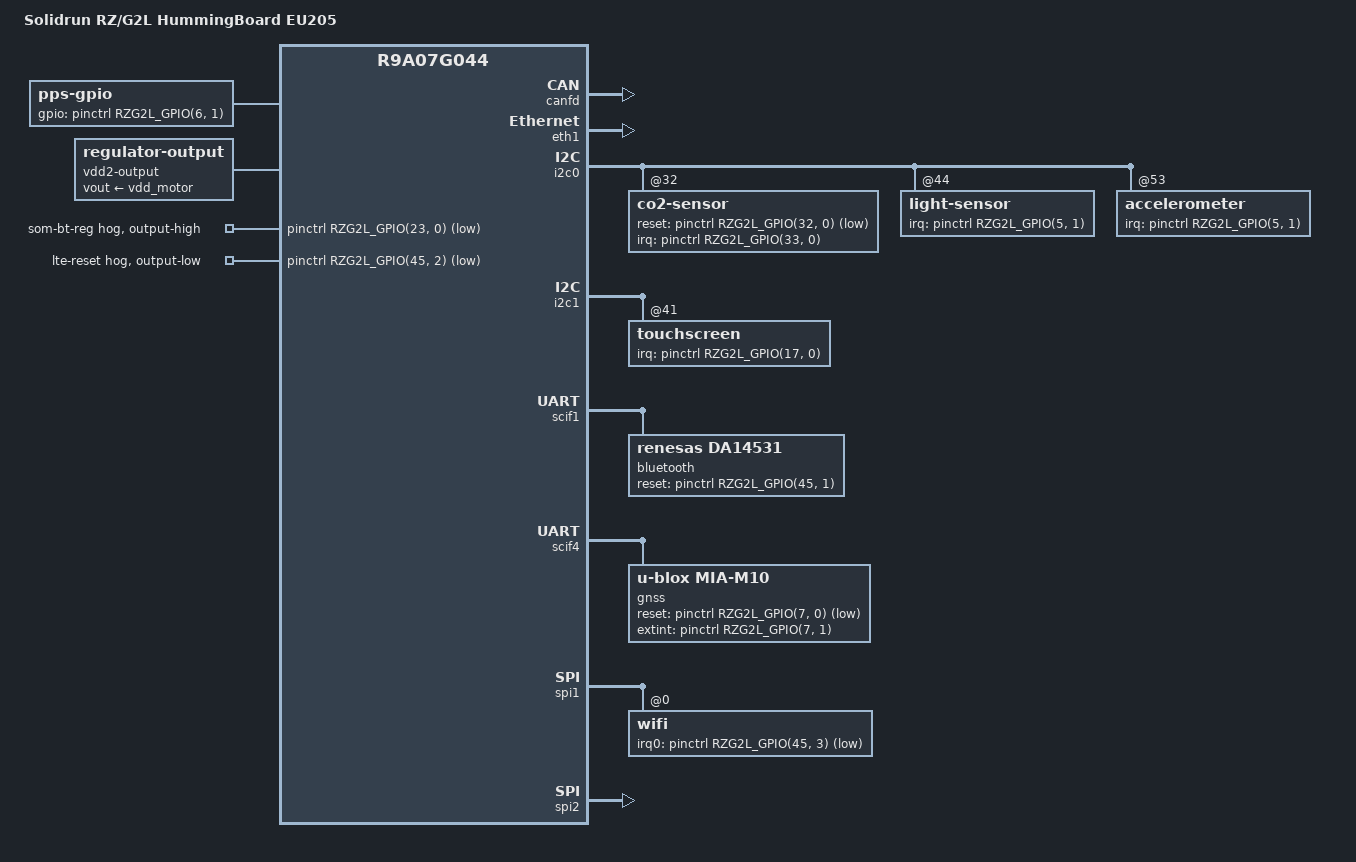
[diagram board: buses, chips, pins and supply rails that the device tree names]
// SPDX-License-Identifier: GPL-2.0+
/*
 * Copyright (C) 2025 Josua Mayer <josua@solid-run.com>
 *
 * DTS for SolidRun RZ-G2L SoM,
 * hosted on Renesas EU205 Evaluation Board.
 *
 */

/dts-v1/;

#include "rzg2l-sr-som.dtsi"
#include "rzg2l-hummingboard-eu205.dtsi"

/ {
	model = "Solidrun RZ/G2L HummingBoard EU205";
	compatible = "solidrun,rz-eu205", "solidrun,rzg2l-sr-som", "renesas,r9a07g044l2", "renesas,r9a07g044";

	aliases {
		serial4 = &scif4;
		ethernet1 = &eth1;
	};

	pps {
		compatible = "pps-gpio";
		gpios = <&pinctrl RZG2L_GPIO(6, 1) GPIO_ACTIVE_HIGH>;
	};

	/* switch for vdd2, sourced from VIN, supplies high-voltage io controller, can be exposed on J26 with R121 */
	vdd_motor: regulator-vdd2-motor {
		gpios = <&pinctrl RZG2L_GPIO(39, 2) GPIO_ACTIVE_HIGH>; // J7-28
		enable-active-high;
	};

	vdd2-output {
		compatible = "regulator-output";
		vout-supply = <&vdd_motor>;
	};

	/* vbat voltage for lte and wifi */
	vbat_wireless: regulator-vbat-wireless {
		gpios = <&pinctrl RZG2L_GPIO(42, 2) GPIO_ACTIVE_HIGH>;
	};

	/* lcd (dsi) power 10.5V, enable J7-36 */
	vdd_lcd: regulator-vdd-video {
		gpios = <&pinctrl RZG2L_GPIO(36, 1) GPIO_ACTIVE_HIGH>; // J7-36
		enable-active-high;
	};
};

&canfd {
	pinctrl-0 = <&can0_pins>, <&can1_pins>;
	pinctrl-names = "default";
	status = "okay";

	channel0 {
		status = "okay";

		can-transceiver {
			max-bitrate = <1000000>;
		};
	};

	channel1 {
		status = "okay";

		can-transceiver {
			max-bitrate = <1000000>;
		};
	};
};

&eth1 {
	status = "okay";

	// TODO: describe PHY LEDs
};

&i2c0 {
	/* ZMOD4410AI1R air quality (U20) @ 32 */
	co2-sensor@32 {
		reset-gpios = <&pinctrl RZG2L_GPIO(32, 0) GPIO_ACTIVE_LOW>;
		interrupt-parent = <&pinctrl>;
		interrupts = <RZG2L_GPIO(33, 0) IRQ_TYPE_EDGE_FALLING>;
	};

	/* ISL76683AROZ-T7A ambient (U19) @ 44 */
	light-sensor@44 {
		/* IRQ shared between accelerometer, light-sensor and Tamper input (25) */
		interrupt-parent = <&pinctrl>;
		interrupts = <RZG2L_GPIO(5, 1) IRQ_TYPE_EDGE_FALLING>;
	};

	/* ADXL345 accelerometer (U17) @ 53 */
	accelerometer@53 {
		/* IRQ shared between accelerometer, light-sensor and Tamper input (25) */
		interrupt-parent = <&pinctrl>;
		interrupts = <RZG2L_GPIO(5, 1) IRQ_TYPE_EDGE_FALLING>;
	};
};

&i2c1 {
	/* touchscreen on DSI connector */
	touchscreen@41 {
		interrupt-parent = <&pinctrl>;
		interrupts = <RZG2L_GPIO(17, 0) IRQ_TYPE_EDGE_FALLING>;
	};
};

&pinctrl {
	can0_pins: can-0-pins {
		pinmux = <RZG2L_PORT_PINMUX(10, 1, 2)>, /* CAN0_TX */
			 <RZG2L_PORT_PINMUX(11, 0, 2)>; /* CAN0_RX */
	};

	can1_pins: can-1-pins {
		pinmux = <RZG2L_PORT_PINMUX(12, 1, 2)>, /* CAN1_TX */
			 <RZG2L_PORT_PINMUX(13, 0, 2)>; /* CAN1_RX */
	};

	scif2_pins: scif2 /* scif-2-pins */ {
		pinmux = <RZG2L_PORT_PINMUX(16, 0, 2)>, /* SCIF2_TXD */
			 <RZG2L_PORT_PINMUX(16, 1, 2)>, /* SCIF2_RXD */
			 <RZG2L_PORT_PINMUX(17, 1, 2)>, /* SCIF2_CTS */
			 <RZG2L_PORT_PINMUX(17, 2, 2)>; /* SCIF2_RTS */
	};

	scif4_pins: scif-4-pins {
		pinmux = <RZG2L_PORT_PINMUX(2, 0, 5)>, /* SCIF4_TXD */
			 <RZG2L_PORT_PINMUX(2, 1, 5)>; /* SCIF4_RXD */
	};

	spi2_pins: spi-2-pins {
		pinmux = <RZG2L_PORT_PINMUX(8, 0, 3)>, /* RSPI2_CK */
			 <RZG2L_PORT_PINMUX(8, 1, 3)>, /* RSPI2_MOSI */
			 <RZG2L_PORT_PINMUX(8, 2, 3)>, /* RSPI2_MISO */
			 <RZG2L_PORT_PINMUX(9, 0, 3)>; /* RSPI2_SSL */
	};

	usb1_pins: usb-1-pins {
		pinmux = <RZG2L_PORT_PINMUX(42, 0, 1)>; /* USB1_VBUSEN */
	};

	/* LTE conflicts with on-som bluetooth, hog bt-reg-on */
	som-bt-reg-hog {
		gpio-hog;
		gpios = <RZG2L_GPIO(23, 0) GPIO_ACTIVE_LOW>;
		output-high;
		line-name = "som-bt-reg";
	};

	/* lte reset */
	/* TODO: replace with rfkill device for Linux v6.3 or later */
	lte-reset-hog {
		gpio-hog;
		gpios = <RZG2L_GPIO(45, 2) GPIO_ACTIVE_LOW>;
		output-low;
		line-name = "lte-reset";
	};
};

&scif1 {
	pinctrl-0 = <&scif1_pins>;
	pinctrl-names = "default";
	uart-has-rtscts;
	/* disable dma to avoid kernel crashes on frame error */
	/delete-property/ dmas;
	/delete-property/ dma-names;
	status = "okay";

	bluetooth {
		compatible = "renesas,DA14531";
		reset-gpios = <&pinctrl RZG2L_GPIO(45, 1) GPIO_ACTIVE_HIGH>;
		max-speed = <1000000>;
	};
};

/* LTE */
&scif2 {
	/* conflict with on-som bluetooth (optional) */
	/delete-node/ cyw;
};

/* RS485 */
&scif3 {
	/*
	 * The SCIF hardware block does not support RS485 via
	 * it's state machine.
	 *
	 * Often UART drivers implement software-support using
	 * rts-gpios property, but SCIF driver does not.
	 *
	 * For now users should toggle the RS485 transceiver direction
	 * from userspace with GPIO P3_0: Low = RX, High = TX.
	 *
	 * Once driver receives support, RS485 may be enabled as follows:
	 *
	 * rts-gpios = <&pinctrl RZG2L_GPIO(3, 0) GPIO_ACTIVE_LOW>;
	 * uart-has-rtscts;
	 * linux,rs485-enabled-at-boot-time;
	 */
};

/* GPS */
&scif4 {
	pinctrl-0 = <&scif4_pins>;
	pinctrl-names = "default";
	/* disable dma to avoid kernel crashes on frame error */
	/delete-property/ dmas;
	/delete-property/ dma-names;
	status = "okay";

	gnss {
		compatible = "u-blox,mia-m10", "u-blox,neo-m8";
		reset-gpios = <&pinctrl RZG2L_GPIO(7, 0) GPIO_ACTIVE_LOW>;
		//timepulse-gpios = <&pinctrl RZG2L_GPIO(6, 1) GPIO_ACTIVE_HIGH>;
		current-speed = <38400>;
		u-blox,extint-gpios = <&pinctrl RZG2L_GPIO(7, 1) GPIO_ACTIVE_HIGH>;
	};
};

&spi1 {
	wifi@0 {
		irq0-gpios = <&pinctrl RZG2L_GPIO(45, 3) (GPIO_ACTIVE_LOW)>;
	};
};

&spi2 {
	pinctrl-0 = <&spi2_pins>;
	pinctrl-names = "default";
	status = "okay";

	/* J13 */
};

&usb2_phy1 {
	pinctrl-0 = <&usb1_pins>;
	pinctrl-names = "default";
};
